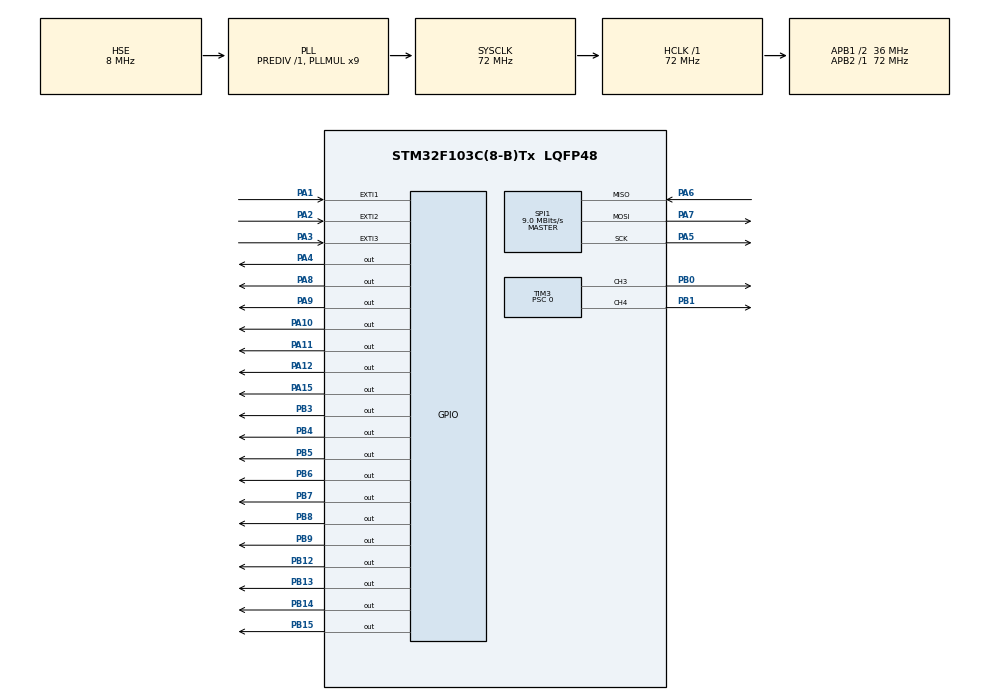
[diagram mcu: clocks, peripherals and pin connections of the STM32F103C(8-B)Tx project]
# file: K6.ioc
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FATFS._MAX_SS=4096
FATFS._USE_LFN=1
Mcu.Family=STM32F1
Mcu.Name=STM32F103C(8-B)Tx
Mcu.Package=LQFP48
NVIC.EXTI1_IRQn=true\:0\:0\:false\:false\:true\:true\:true
NVIC.EXTI2_IRQn=true\:0\:0\:false\:false\:true\:true\:true
NVIC.EXTI3_IRQn=true\:0\:0\:false\:false\:true\:true\:true
NVIC.PriorityGroup=NVIC_PRIORITYGROUP_4
PA1.GPIO_ModeDefaultEXTI=GPIO_MODE_IT_FALLING
PA1.GPIO_PuPd=GPIO_PULLUP
PA1.Signal=GPXTI1
PA10.Signal=GPIO_Output
PA11.Signal=GPIO_Output
PA12.Signal=GPIO_Output
PA13.Mode=Serial_Wire
PA13.Signal=SYS_JTMS-SWDIO
PA14.Mode=Serial_Wire
PA14.Signal=SYS_JTCK-SWCLK
PA15.Signal=GPIO_Output
PA2.GPIO_ModeDefaultEXTI=GPIO_MODE_IT_FALLING
PA2.GPIO_PuPd=GPIO_PULLUP
PA2.Signal=GPXTI2
PA3.GPIO_ModeDefaultEXTI=GPIO_MODE_IT_FALLING
PA3.GPIO_PuPd=GPIO_PULLUP
PA3.Signal=GPXTI3
PA4.GPIO_PuPd=GPIO_NOPULL
PA4.Signal=GPIO_Output
PA5.Mode=Full_Duplex_Master
PA5.Signal=SPI1_SCK
PA6.Mode=Full_Duplex_Master
PA6.Signal=SPI1_MISO
PA7.Mode=Full_Duplex_Master
PA7.Signal=SPI1_MOSI
PA8.Signal=GPIO_Output
PA9.Signal=GPIO_Output
PB0.Signal=S_TIM3_CH3
PB1.Signal=S_TIM3_CH4
PB12.Signal=GPIO_Output
PB13.Signal=GPIO_Output
PB14.Signal=GPIO_Output
PB15.Signal=GPIO_Output
PB3.Signal=GPIO_Output
PB4.Signal=GPIO_Output
PB5.Signal=GPIO_Output
PB6.Signal=GPIO_Output
PB7.Signal=GPIO_Output
PB8.Signal=GPIO_Output
PB9.Signal=GPIO_Output
PD0-OSC_IN.Mode=HSE-External-Oscillator
PD0-OSC_IN.Signal=RCC_OSC_IN
PD1-OSC_OUT.Mode=HSE-External-Oscillator
PD1-OSC_OUT.Signal=RCC_OSC_OUT
ProjectManager.HeapSize=0x200
ProjectManager.StackSize=0x400
ProjectManager.TargetToolchain=STM32CubeIDE
RCC.AHBFreq_Value=72000000
RCC.APB1CLKDivider=RCC_HCLK_DIV2
RCC.APB1Freq_Value=36000000
RCC.APB1TimFreq_Value=72000000
RCC.APB2Freq_Value=72000000
RCC.APB2TimFreq_Value=72000000
RCC.HCLKFreq_Value=72000000
RCC.PLLMUL=RCC_PLL_MUL9
RCC.PLLSourceVirtual=RCC_PLLSOURCE_HSE
RCC.SYSCLKFreq_VALUE=72000000
RCC.SYSCLKSource=RCC_SYSCLKSOURCE_PLLCLK
RCC.USBFreq_Value=72000000
SH.S_TIM3_CH3.0=TIM3_CH3,PWM Generation3 CH3
SH.S_TIM3_CH4.0=TIM3_CH4,PWM Generation4 CH4
SPI1.BaudRatePrescaler=SPI_BAUDRATEPRESCALER_8
SPI1.CalculateBaudRate=9.0 MBits/s
SPI1.Direction=SPI_DIRECTION_2LINES
SPI1.Mode=SPI_MODE_MASTER
SPI1.VirtualType=VM_MASTER
TIM3.Channel-PWM\ Generation3\ CH3=TIM_CHANNEL_3
TIM3.Channel-PWM\ Generation4\ CH4=TIM_CHANNEL_4
TIM3.Period=255
TIM3.Prescaler=0
VP_FATFS_VS_Generic.Mode=User_defined
board=custom

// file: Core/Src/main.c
/* USER CODE BEGIN Header */
/**
  ******************************************************************************
  * @file           : main.c
  * @brief          : Main program body
  ******************************************************************************
  * @attention
  *
  * <h2><center>&copy; Copyright (c) 2020 STMicroelectronics.
  * All rights reserved.</center></h2>
  *
  * This software component is licensed by ST under BSD 3-Clause license,
  * the "License"; You may not use this file except in compliance with the
  * License. You may obtain a copy of the License at:
  *                        opensource.org/licenses/BSD-3-Clause
  *
  ******************************************************************************
  */
/* USER CODE END Header */
#include "main.h"
#include "fatfs.h"

/* USER CODE BEGIN Includes */
#include "fatfs_sd.h"
#include "string.h"
/* USER CODE END Includes */

SPI_HandleTypeDef hspi1;

TIM_HandleTypeDef htim3;

void SystemClock_Config(void);
static void MX_GPIO_Init(void);
static void MX_SPI1_Init(void);
static void MX_TIM3_Init(void);

/* USER CODE BEGIN 0 */
FATFS fs; // file system
	FIL file; // file
	FRESULT res, fres, pres; // to store the result
	char buffer[1024];
	uint32_t bytesread;
	uint8_t n;

void LED_ALL_ON (void)
{
	HAL_GPIO_WritePin(GPIOB, GPIO_PIN_3|GPIO_PIN_4|GPIO_PIN_5|GPIO_PIN_6
            |GPIO_PIN_7|GPIO_PIN_8|GPIO_PIN_9|GPIO_PIN_12|GPIO_PIN_13|GPIO_PIN_14|GPIO_PIN_15, 1);
	HAL_GPIO_WritePin(GPIOA, GPIO_PIN_8|GPIO_PIN_9|GPIO_PIN_10|GPIO_PIN_11|GPIO_PIN_12|GPIO_PIN_14|GPIO_PIN_15, 1);
}
void LED_TWO (void)
{
	HAL_GPIO_WritePin(GPIOB, GPIO_PIN_13|GPIO_PIN_15|GPIO_PIN_4|GPIO_PIN_6
	            |GPIO_PIN_8, 1);
	HAL_GPIO_WritePin(GPIOA, GPIO_PIN_9|GPIO_PIN_11|GPIO_PIN_15, 1);
}
void LED_THREE (void)
{
	HAL_GPIO_WritePin(GPIOB, GPIO_PIN_12|GPIO_PIN_14|GPIO_PIN_3|GPIO_PIN_5|GPIO_PIN_7|GPIO_PIN_9, 1);
	HAL_GPIO_WritePin(GPIOA, GPIO_PIN_8|GPIO_PIN_10|GPIO_PIN_12, 1);

}
void LED_ALL_OFF (void)
{
	HAL_GPIO_WritePin(GPIOB, GPIO_PIN_3|GPIO_PIN_4|GPIO_PIN_5|GPIO_PIN_6
	            |GPIO_PIN_7|GPIO_PIN_8|GPIO_PIN_9|GPIO_PIN_12|GPIO_PIN_13|GPIO_PIN_14|GPIO_PIN_15, 0);
	HAL_GPIO_WritePin(GPIOA, GPIO_PIN_8|GPIO_PIN_9|GPIO_PIN_10|GPIO_PIN_11|GPIO_PIN_12|GPIO_PIN_14|GPIO_PIN_15, 0);
}
uint8_t play_music (uint8_t playing)
{
	uint8_t bai = playing;
	fres = f_mount ( &fs ,  "" ,   1);
	    	      	   while ( fres !=  FR_OK )
	    	      	   {
	    	      	 	  fres = f_mount ( &fs ,  "" ,   1);
	    	      	 	  HAL_Delay(100);
	    	      	   }
/* Open file */

	switch (n)
	{
	case 1:
		fres = f_open(&file, "music1.wav", FA_READ);
		LED_ALL_ON();
						    if (fres != FR_OK)
						    	  {
						  	  	  return 1;
						  	  	  f_close(&file);
						    	  }
		break;
	case 2:
			fres = f_open(&file, "music2.wav", FA_READ);
			LED_TWO();
							    if (fres != FR_OK)
							    	  {
							  	  	  return 1;
							  	  	  f_close(&file);
							    	  }
			break;
	case 3:
			fres = f_open(&file, "music3.wav", FA_READ);
			LED_THREE();
							    if (fres != FR_OK)
							    	  {
							  	  	  return 1;
							  	  	  f_close(&file);
							    	  }
			break;
	}

  /* Read header */
  uint8_t header[44];
  pres = f_read(&file, header, sizeof(header), &bytesread);
    if (pres != FR_OK)
    {
  	  f_close(&file);
  	  return 2;
    }
  /*Read data */

  while (f_eof (&file) == 0  )
  {
	  if (bai != n)
	  {
			LED_ALL_OFF();
		  f_close(&file);
		        return 0;
	  }
	  uint8_t data[1];
	  res = f_read(&file, data, sizeof(data), &bytesread);
	    if (res != FR_OK)
	    	  {
	  	  	  f_close(&file);
	  	  	  return 2;
	    	  }

  /* PWM */

  __HAL_TIM_SET_COMPARE(&htim3, TIM_CHANNEL_3, 255 - data[0]);
  __HAL_TIM_SET_COMPARE(&htim3, TIM_CHANNEL_4, 255 - data[0]);
  for(int a = 0; a <400; a++)
  	  asm("NOP");

  }
    f_close(&file);
      return 0;
}

/* USER CODE END 0 */

int main(void)
{

  /* MCU Configuration--------------------------------------------------------*/

  /* Reset of all peripherals, Initializes the Flash interface and the Systick. */
  HAL_Init();

  /* Configure the system clock */
  SystemClock_Config();

  /* Initialize all configured peripherals */
  MX_GPIO_Init();
  MX_SPI1_Init();
  MX_FATFS_Init();
  MX_TIM3_Init();
  /* USER CODE BEGIN 2 */
  HAL_TIM_PWM_Start(&htim3, TIM_CHANNEL_3);
  HAL_TIM_PWM_Start(&htim3, TIM_CHANNEL_4);
//    uint8_t  n = 1;

  /* USER CODE END 2 */

  /* Infinite loop */
  while (1)
  {

    /* USER CODE BEGIN 3 */

		play_music(n);
  }

  /* USER CODE END 3 */
}

void SystemClock_Config(void)
{
  RCC_OscInitTypeDef RCC_OscInitStruct = {0};
  RCC_ClkInitTypeDef RCC_ClkInitStruct = {0};

  /** Initializes the RCC Oscillators according to the specified parameters
  * in the RCC_OscInitTypeDef structure.
  */
  RCC_OscInitStruct.OscillatorType = RCC_OSCILLATORTYPE_HSE;
  RCC_OscInitStruct.HSEState = RCC_HSE_ON;
  RCC_OscInitStruct.HSEPredivValue = RCC_HSE_PREDIV_DIV1;
  RCC_OscInitStruct.HSIState = RCC_HSI_ON;
  RCC_OscInitStruct.PLL.PLLState = RCC_PLL_ON;
  RCC_OscInitStruct.PLL.PLLSource = RCC_PLLSOURCE_HSE;
  RCC_OscInitStruct.PLL.PLLMUL = RCC_PLL_MUL9;
  if (HAL_RCC_OscConfig(&RCC_OscInitStruct) != HAL_OK)
  {
    Error_Handler();
  }
  /** Initializes the CPU, AHB and APB buses clocks
  */
  RCC_ClkInitStruct.ClockType = RCC_CLOCKTYPE_HCLK|RCC_CLOCKTYPE_SYSCLK
                              |RCC_CLOCKTYPE_PCLK1|RCC_CLOCKTYPE_PCLK2;
  RCC_ClkInitStruct.SYSCLKSource = RCC_SYSCLKSOURCE_PLLCLK;
  RCC_ClkInitStruct.AHBCLKDivider = RCC_SYSCLK_DIV1;
  RCC_ClkInitStruct.APB1CLKDivider = RCC_HCLK_DIV2;
  RCC_ClkInitStruct.APB2CLKDivider = RCC_HCLK_DIV1;

  if (HAL_RCC_ClockConfig(&RCC_ClkInitStruct, FLASH_LATENCY_2) != HAL_OK)
  {
    Error_Handler();
  }
}

static void MX_SPI1_Init(void)
{

  /* SPI1 parameter configuration*/
  hspi1.Instance = SPI1;
  hspi1.Init.Mode = SPI_MODE_MASTER;
  hspi1.Init.Direction = SPI_DIRECTION_2LINES;
  hspi1.Init.DataSize = SPI_DATASIZE_8BIT;
  hspi1.Init.CLKPolarity = SPI_POLARITY_LOW;
  hspi1.Init.CLKPhase = SPI_PHASE_1EDGE;
  hspi1.Init.NSS = SPI_NSS_SOFT;
  hspi1.Init.BaudRatePrescaler = SPI_BAUDRATEPRESCALER_8;
  hspi1.Init.FirstBit = SPI_FIRSTBIT_MSB;
  hspi1.Init.TIMode = SPI_TIMODE_DISABLE;
  hspi1.Init.CRCCalculation = SPI_CRCCALCULATION_DISABLE;
  hspi1.Init.CRCPolynomial = 10;
  if (HAL_SPI_Init(&hspi1) != HAL_OK)
  {
    Error_Handler();
  }

}

static void MX_TIM3_Init(void)
{

  TIM_MasterConfigTypeDef sMasterConfig = {0};
  TIM_OC_InitTypeDef sConfigOC = {0};

  htim3.Instance = TIM3;
  htim3.Init.Prescaler = 0;
  htim3.Init.CounterMode = TIM_COUNTERMODE_UP;
  htim3.Init.Period = 255;
  htim3.Init.ClockDivision = TIM_CLOCKDIVISION_DIV1;
  htim3.Init.AutoReloadPreload = TIM_AUTORELOAD_PRELOAD_DISABLE;
  if (HAL_TIM_PWM_Init(&htim3) != HAL_OK)
  {
    Error_Handler();
  }
  sMasterConfig.MasterOutputTrigger = TIM_TRGO_RESET;
  sMasterConfig.MasterSlaveMode = TIM_MASTERSLAVEMODE_DISABLE;
  if (HAL_TIMEx_MasterConfigSynchronization(&htim3, &sMasterConfig) != HAL_OK)
  {
    Error_Handler();
  }
  sConfigOC.OCMode = TIM_OCMODE_PWM1;
  sConfigOC.Pulse = 0;
  sConfigOC.OCPolarity = TIM_OCPOLARITY_HIGH;
  sConfigOC.OCFastMode = TIM_OCFAST_DISABLE;
  if (HAL_TIM_PWM_ConfigChannel(&htim3, &sConfigOC, TIM_CHANNEL_3) != HAL_OK)
  {
    Error_Handler();
  }
  if (HAL_TIM_PWM_ConfigChannel(&htim3, &sConfigOC, TIM_CHANNEL_4) != HAL_OK)
  {
    Error_Handler();
  }
  HAL_TIM_MspPostInit(&htim3);

}

static void MX_GPIO_Init(void)
{
  GPIO_InitTypeDef GPIO_InitStruct = {0};

  /* GPIO Ports Clock Enable */
  __HAL_RCC_GPIOD_CLK_ENABLE();
  __HAL_RCC_GPIOA_CLK_ENABLE();
  __HAL_RCC_GPIOB_CLK_ENABLE();

  /*Configure GPIO pin Output Level */
  HAL_GPIO_WritePin(GPIOA, GPIO_PIN_4|GPIO_PIN_8|GPIO_PIN_9|GPIO_PIN_10
                          |GPIO_PIN_11|GPIO_PIN_12|GPIO_PIN_15, GPIO_PIN_RESET);

  /*Configure GPIO pin Output Level */
  HAL_GPIO_WritePin(GPIOB, GPIO_PIN_12|GPIO_PIN_13|GPIO_PIN_14|GPIO_PIN_15
                          |GPIO_PIN_3|GPIO_PIN_4|GPIO_PIN_5|GPIO_PIN_6
                          |GPIO_PIN_7|GPIO_PIN_8|GPIO_PIN_9, GPIO_PIN_RESET);

  /*Configure GPIO pins : PA1 PA2 PA3 */
  GPIO_InitStruct.Pin = GPIO_PIN_1|GPIO_PIN_2|GPIO_PIN_3;
  GPIO_InitStruct.Mode = GPIO_MODE_IT_FALLING;
  GPIO_InitStruct.Pull = GPIO_PULLUP;
  HAL_GPIO_Init(GPIOA, &GPIO_InitStruct);

  /*Configure GPIO pins : PA4 PA8 PA9 PA10
                           PA11 PA12 PA15 */
  GPIO_InitStruct.Pin = GPIO_PIN_4|GPIO_PIN_8|GPIO_PIN_9|GPIO_PIN_10
                          |GPIO_PIN_11|GPIO_PIN_12|GPIO_PIN_15;
  GPIO_InitStruct.Mode = GPIO_MODE_OUTPUT_PP;
  GPIO_InitStruct.Pull = GPIO_NOPULL;
  GPIO_InitStruct.Speed = GPIO_SPEED_FREQ_LOW;
  HAL_GPIO_Init(GPIOA, &GPIO_InitStruct);

  /*Configure GPIO pins : PB12 PB13 PB14 PB15
                           PB3 PB4 PB5 PB6
                           PB7 PB8 PB9 */
  GPIO_InitStruct.Pin = GPIO_PIN_12|GPIO_PIN_13|GPIO_PIN_14|GPIO_PIN_15
                          |GPIO_PIN_3|GPIO_PIN_4|GPIO_PIN_5|GPIO_PIN_6
                          |GPIO_PIN_7|GPIO_PIN_8|GPIO_PIN_9;
  GPIO_InitStruct.Mode = GPIO_MODE_OUTPUT_PP;
  GPIO_InitStruct.Pull = GPIO_NOPULL;
  GPIO_InitStruct.Speed = GPIO_SPEED_FREQ_LOW;
  HAL_GPIO_Init(GPIOB, &GPIO_InitStruct);

  /* EXTI interrupt init*/
  HAL_NVIC_SetPriority(EXTI1_IRQn, 0, 0);
  HAL_NVIC_EnableIRQ(EXTI1_IRQn);

  HAL_NVIC_SetPriority(EXTI2_IRQn, 0, 0);
  HAL_NVIC_EnableIRQ(EXTI2_IRQn);

  HAL_NVIC_SetPriority(EXTI3_IRQn, 0, 0);
  HAL_NVIC_EnableIRQ(EXTI3_IRQn);

}

/* USER CODE BEGIN 4 */
void HAL_GPIO_EXTI_Callback (uint16_t GPIO_Pin)
{
	if (GPIO_Pin == GPIO_PIN_1)
		n =1 ;
	if (GPIO_Pin == GPIO_PIN_2)
		n =2;
	if (GPIO_Pin == GPIO_PIN_3)
		n =3 ;

}
/* USER CODE END 4 */

void Error_Handler(void)
{
  __disable_irq();
  while (1)
  {
  }
}

/************************ (C) COPYRIGHT STMicroelectronics *****END OF FILE****/
